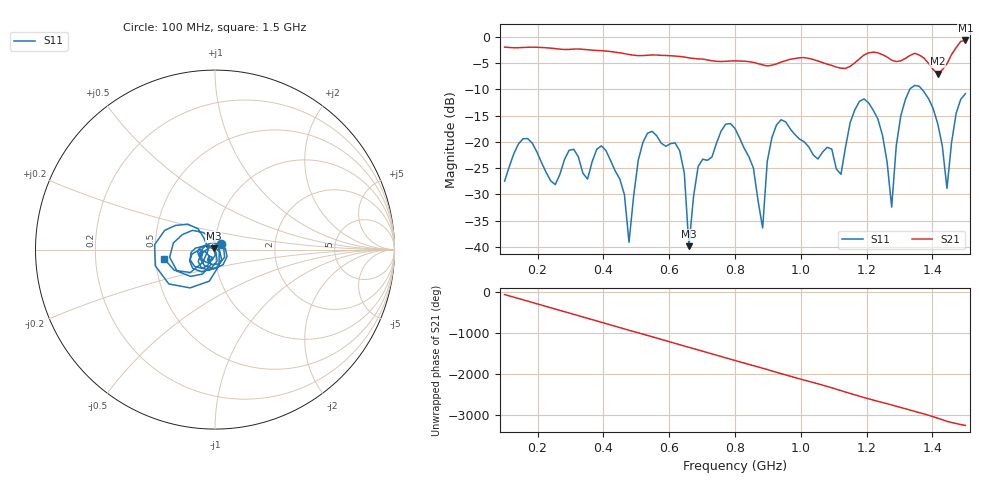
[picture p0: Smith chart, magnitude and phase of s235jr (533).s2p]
! NanoVNA-App
! Date: 2025-09-25 15:08:19
! Start: 100MHz Stop: 1,5GHz Points: 101
! S-Parameter data: F S11 S21 S12 S22
# Hz S RI R 50
!  Frequency  S11_Real  S11_Imag  S21_Real  S21_Imag  S12_Real  S12_Imag  S22_Real  S22_Imag
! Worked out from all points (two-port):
!   101 points, 100 MHz to 1.5 GHz, reference 50 ohm
!   highest |S21| = -0.70 dB at 1.5 GHz (marker M1); lowest = -7.0 dB at 1.416 GHz (marker M2)
!   |S21| within 3 dB of the highest: start of sweep to 623.8 MHz; 1.188 GHz to 1.257 GHz (69.8 MHz wide, 5.71 % of centre) (the widest 2 of 4)
!   lowest |S11| = -39.9 dB at 660 MHz (marker M3), VSWR 1.02, Z = 49.2 + j0.611 ohm
!   |S11| at or under -10 dB: start of sweep to 1.331 GHz; 1.368 GHz to end of sweep
!   S12 and S22 are empty: the file has one direction only
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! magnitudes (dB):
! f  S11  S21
! 100 MHz  -27.5  -2.0
! 156 MHz  -19.4  -2.0
! 338 MHz  -26.0  -2.4
! 408 MHz  -21.7  -2.7
! 478 MHz  -39.1  -3.4
! 520 MHz  -20.1  -3.6
! 576 MHz  -20.3  -3.5
! 632 MHz  -21.7  -3.7
! 660 MHz  -39.9  -4.0
! 688 MHz  -24.7  -4.2
! 800 MHz  -17.5  -4.6
! 884 MHz  -36.4  -5.4
! 926 MHz  -16.8  -5.2
! 1.038 GHz  -22.5  -4.3
! 1.122 GHz  -26.2  -6.0
! 1.192 GHz  -11.8  -3.5
! 1.248 GHz  -18.7  -3.4
! 1.276 GHz  -32.4  -4.5
! 1.332 GHz  -9.9  -3.6
! 1.416 GHz  -16.6  -7.0
! 1.444 GHz  -28.9  -5.1
! 1.5 GHz  -10.8  -0.7
